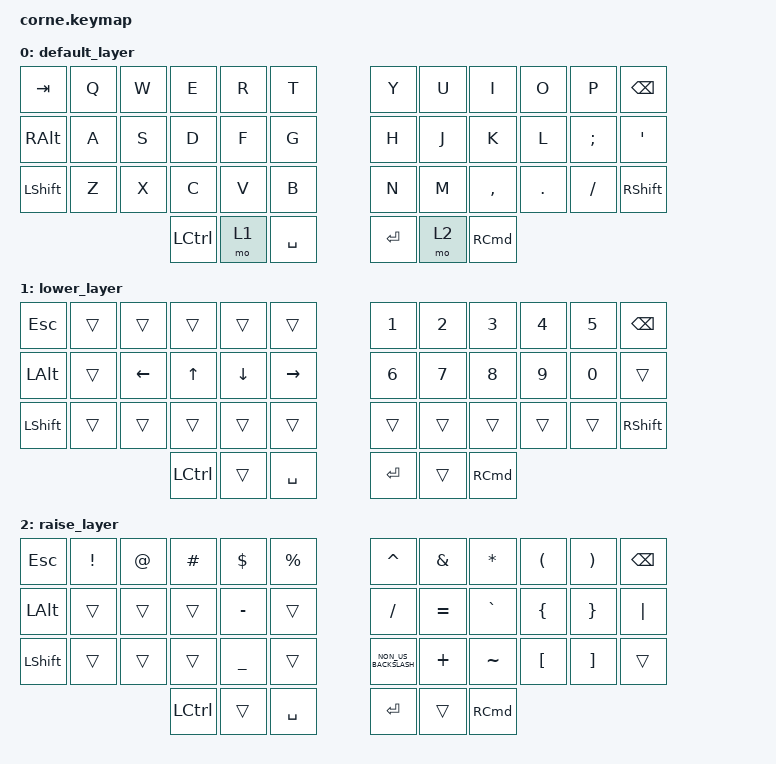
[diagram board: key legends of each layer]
/*
 * Copyright (c) 2020 The ZMK Contributors
 *
 * SPDX-License-Identifier: MIT
 */

#include <behaviors.dtsi>
#include <dt-bindings/zmk/keys.h>

/ {
    combos {
        compatible = "zmk,combos";

        combo_esc {
            timeout-ms = <100>;
            key-positions = <0 1>;
            bindings = <&kp ESC>;
        };
    };

    behaviors {
        ss_hs_modmorph: ss_hs_modmorph {
            compatible = "zmk,behavior-mod-morph";
            label = "SS_HS_MODMORPH";
            bindings = <&kp M>, <&kp RIGHT_BRACKET>;

            #binding-cells = <0>;
            mods = <(MOD_LSFT|MOD_RSFT)>;
        };

        kh_hs_tapdance: kh_hs_tapdance {
            compatible = "zmk,behavior-tap-dance";
            label = "KH_HS_TAPDANCE";
            #binding-cells = <0>;
            tapping-term-ms = <200>;
            bindings = <&kp LEFT_BRACKET>, <&kp RIGHT_BRACKET>;
        };

        hrm: hrm {
            compatible = "zmk,behavior-hold-tap";
            #binding-cells = <2>;
            flavor = "tap-preferred";
            tapping-term-ms = <200>;
            quick-tap-ms = <200>;
            require-prior-idle-ms = <125>;
            bindings = <&kp>, <&kp>;
        };
    };

    keymap {
        compatible = "zmk,keymap";

        default_layer {
            // -----------------------------------------------------------------------------------------
            // |  TAB |  Q  |  W  |  E  |  R  |  T  |   |  Y  |  U   |  I  |  O  |  P  | BKSP |
            // | CTRL |  A  |  S  |  D  |  F  |  G  |   |  H  |  J   |  K  |  L  |  ;  |  '   |
            // | SHFT |  Z  |  X  |  C  |  V  |  B  |   |  N  |  M   |  ,  |  .  |  /  | ESC  |
            //                    | GUI | LWR | SPC |   | ENT | RSE  | ALT |

            bindings = <
&kp TAB        &kp Q  &kp W  &kp E             &kp R  &kp T        &kp Y      &kp U  &kp I              &kp O    &kp P     &kp BSPC
&kp RIGHT_ALT  &kp A  &kp S  &kp D             &kp F  &kp G        &kp H      &kp J  &kp K              &kp L    &kp SEMI  &kp SQT
&kp LSHFT      &kp Z  &kp X  &kp C             &kp V  &kp B        &kp N      &kp M  &kp COMMA          &kp DOT  &kp FSLH  &kp RIGHT_SHIFT
                             &kp LEFT_CONTROL  &mo 1  &kp SPACE    &kp ENTER  &mo 2  &kp RIGHT_COMMAND
            >;
        };

        lower_layer {
            // -----------------------------------------------------------------------------------------
            // |  TAB |  1  |  2  |  3  |  4  |  5  |   |  6  |  7  |  8  |  9  |  0  | BKSP |
            // | BTCLR| BT1 | BT2 | BT3 | BT4 | BT5 |   | LFT | DWN |  UP | RGT |     |      |
            // | SHFT |     |     |     |     |     |   |     |     |     |     |     |      |
            //                    | GUI |     | SPC |   | ENT |     | ALT |

            bindings = <
&kp ESCAPE    &trans  &trans    &trans            &trans    &trans       &kp NUMBER_1  &kp NUMBER_2  &kp NUMBER_3       &kp NUMBER_4  &kp N5  &kp BSPC
&kp LEFT_ALT  &trans  &kp LEFT  &kp UP_ARROW      &kp DOWN  &kp RIGHT    &kp NUMBER_6  &kp N7        &kp N8             &kp N9        &kp N0  &trans
&kp LSHFT     &trans  &trans    &trans            &trans    &trans       &trans        &trans        &trans             &trans        &trans  &kp RIGHT_SHIFT
                                &kp LEFT_CONTROL  &trans    &kp SPACE    &kp RET       &trans        &kp RIGHT_COMMAND
            >;
        };

        raise_layer {
            // -----------------------------------------------------------------------------------------
            // |  TAB |  !  |  @  |  #  |  $  |  %  |   |  ^  |  &  |  *  |  (  |  )  | BKSP |
            // | CTRL |     |     |     |     |     |   |  -  |  =  |  [  |  ]  |  \  |  `   |
            // | SHFT |     |     |     |     |     |   |  _  |  +  |  {  |  }  | "|" |  ~   |
            //                    | GUI |     | SPC |   | ENT |     | ALT |

            bindings = <
&kp ESCAPE    &kp EXCL  &kp AT  &kp HASH          &kp DLLR        &kp PRCNT    &kp CARET             &kp AMPS   &kp ASTERISK       &kp LEFT_PARENTHESIS  &kp RIGHT_PARENTHESIS  &kp BSPC
&kp LEFT_ALT  &trans    &trans  &trans            &kp MINUS       &trans       &kp SLASH             &kp EQUAL  &kp GRAVE          &kp LEFT_BRACE        &kp RIGHT_BRACE        &kp PIPE
&kp LSHFT     &trans    &trans  &trans            &kp UNDERSCORE  &trans       &kp NON_US_BACKSLASH  &kp PLUS   &kp TILDE          &kp LEFT_BRACKET      &kp RIGHT_BRACKET      &trans
                                &kp LEFT_CONTROL  &trans          &kp SPACE    &kp RET               &trans     &kp RIGHT_COMMAND
            >;
        };
    };
};
